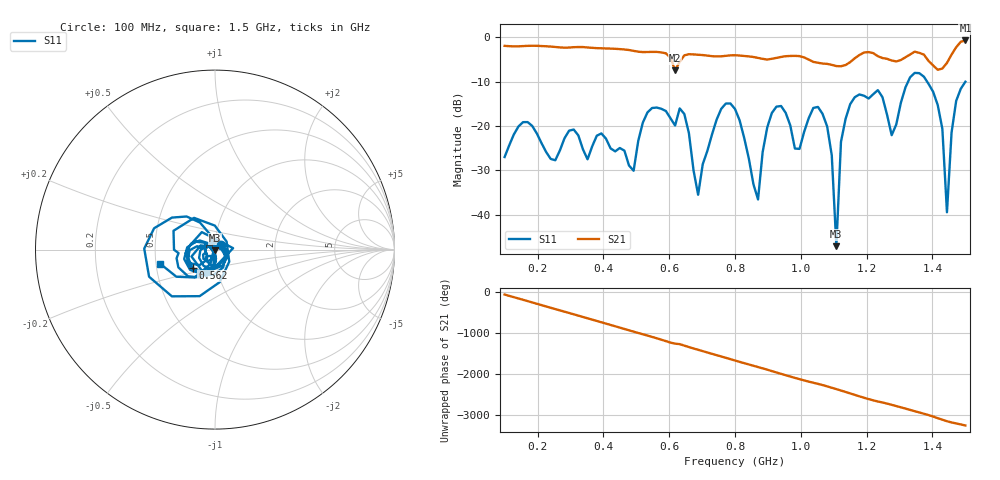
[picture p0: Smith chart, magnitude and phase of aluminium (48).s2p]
! NanoVNA-App
! Date: 2025-09-25 14:55:39
! Start: 100MHz Stop: 1,5GHz Points: 101
! S-Parameter data: F S11 S21 S12 S22
# Hz S RI R 50
!  Frequency  S11_Real  S11_Imag  S21_Real  S21_Imag  S12_Real  S12_Imag  S22_Real  S22_Imag
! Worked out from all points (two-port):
!   101 points, 100 MHz to 1.5 GHz, reference 50 ohm
!   highest |S21| = -0.70 dB at 1.5 GHz (marker M1); lowest = -7.4 dB at 618 MHz (marker M2)
!   |S21| within 3 dB of the highest: start of sweep to 591.4 MHz; 1.185 GHz to 1.223 GHz (37.69 MHz wide, 3.13 % of centre) (the widest 2 of 4)
!   lowest |S11| = -47.1 dB at 1.108 GHz (marker M3), VSWR 1.01, Z = 49.9 - j0.422 ohm
!   |S11| at or under -10 dB: start of sweep to 1.326 GHz; 1.384 GHz to end of sweep
!   S12 and S22 are empty: the file has one direction only
!   S11 on the Smith chart (normalised r, x): 100 MHz: 1.07, +0.06; 562 MHz: 0.76, -0.16; 1.5 GHz: 0.53, -0.09
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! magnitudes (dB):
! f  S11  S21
! 100 MHz  -27.0  -1.9
! 338 MHz  -25.3  -2.2
! 492 MHz  -30.1  -3.0
! 562 MHz  -15.8  -3.3
! 576 MHz  -16.1  -3.4
! 618 MHz  -19.9  -7.4
! 688 MHz  -35.5  -3.9
! 800 MHz  -16.2  -4.0
! 870 MHz  -36.6  -4.6
! 912 MHz  -17.1  -4.8
! 996 MHz  -25.2  -4.2
! 1.038 GHz  -15.9  -5.5
! 1.08 GHz  -20.1  -6.0
! 1.108 GHz  -47.1  -6.5
! 1.122 GHz  -23.6  -6.5
! 1.15 GHz  -15.1  -5.6
! 1.276 GHz  -22.1  -5.2
! 1.374 GHz  -8.9  -3.9
! 1.43 GHz  -20.6  -7.0
! 1.444 GHz  -39.5  -5.8
! 1.458 GHz  -21.5  -3.9
! 1.5 GHz  -10.0  -0.7
